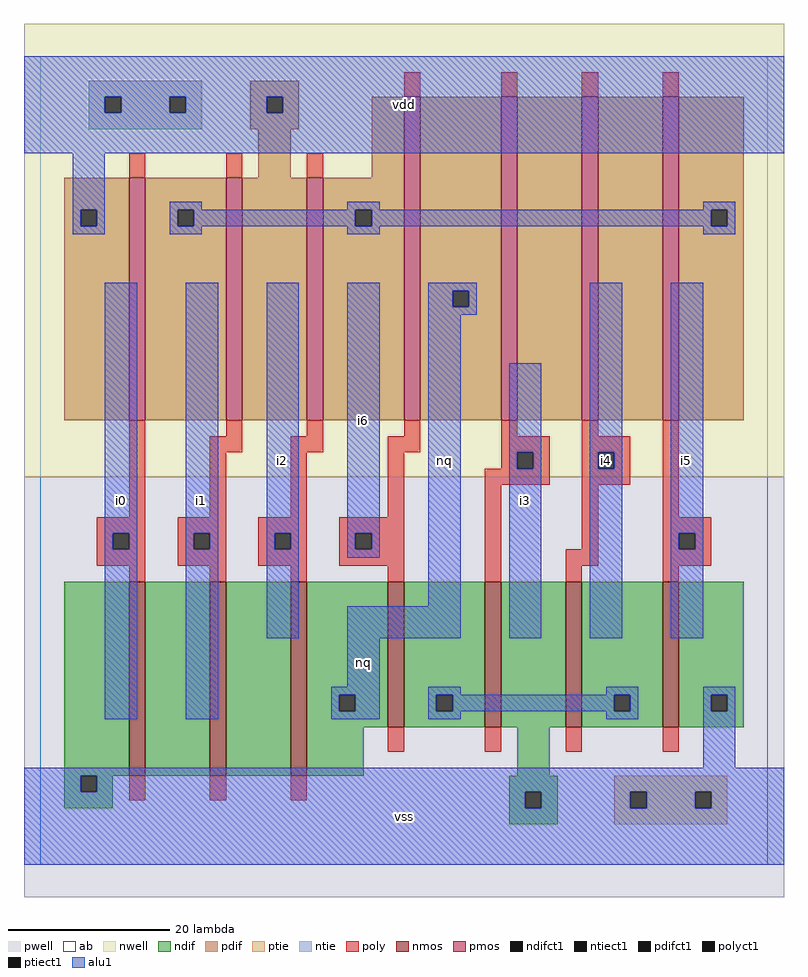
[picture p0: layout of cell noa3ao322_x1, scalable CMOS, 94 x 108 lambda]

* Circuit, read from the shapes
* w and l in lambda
.subckt noa3ao322_x1 i0 i1 i2 i3 i4 i5 i6 nq vdd vss
M1 n1 i0 vss vss nfet w=24 l=2
M2 n2 i1 n1 vss nfet w=24 l=2
M3 nq i2 n2 vss nfet w=24 l=2
M4 n3 i6 nq vss nfet w=18 l=2
M5 vss i3 n3 vss nfet w=18 l=2
M6 n3 i4 vss vss nfet w=18 l=2
M7 vss i5 n3 vss nfet w=18 l=2
M8 n4 i0 vdd vdd pfet w=30 l=2
M9 vdd i1 n4 vdd pfet w=30 l=2
M10 n4 i2 vdd vdd pfet w=30 l=2
M11 nq i6 n4 vdd pfet w=40 l=2
M12 n5 i3 nq vdd pfet w=40 l=2
M13 n6 i4 n5 vdd pfet w=40 l=2
M14 n4 i5 n6 vdd pfet w=40 l=2
.ends

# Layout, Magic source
magic
tech scmos
<< ab >>
rect 0 0 90 100
<< nwell >>
rect -2 48 92 104
<< pwell >>
rect -2 -4 92 48
<< poly >>
rect 45 95 47 98
rect 57 95 59 98
rect 67 95 69 98
rect 77 95 79 98
rect 11 85 13 88
rect 23 85 25 88
rect 33 85 35 88
rect 11 43 13 55
rect 23 53 25 55
rect 33 53 35 55
rect 45 53 47 55
rect 21 51 25 53
rect 31 51 35 53
rect 43 51 47 53
rect 57 53 59 55
rect 67 53 69 55
rect 57 51 63 53
rect 21 43 23 51
rect 31 43 33 51
rect 43 43 45 51
rect 57 49 59 51
rect 61 49 63 51
rect 7 41 13 43
rect 7 39 9 41
rect 11 39 13 41
rect 7 37 13 39
rect 17 41 23 43
rect 17 39 19 41
rect 21 39 23 41
rect 17 37 23 39
rect 27 41 33 43
rect 27 39 29 41
rect 31 39 33 41
rect 27 37 33 39
rect 37 41 45 43
rect 37 39 39 41
rect 41 39 45 41
rect 37 37 45 39
rect 11 35 13 37
rect 21 35 23 37
rect 31 35 33 37
rect 43 35 45 37
rect 55 47 63 49
rect 67 51 73 53
rect 67 49 69 51
rect 71 49 73 51
rect 67 47 73 49
rect 55 35 57 47
rect 67 39 69 47
rect 65 37 69 39
rect 77 43 79 55
rect 77 41 83 43
rect 77 39 79 41
rect 81 39 83 41
rect 77 37 83 39
rect 65 35 67 37
rect 77 35 79 37
rect 43 14 45 17
rect 55 14 57 17
rect 65 14 67 17
rect 77 14 79 17
rect 11 8 13 11
rect 21 8 23 11
rect 31 8 33 11
<< ndif >>
rect 3 11 11 35
rect 13 11 21 35
rect 23 11 31 35
rect 33 21 43 35
rect 33 19 37 21
rect 39 19 43 21
rect 33 17 43 19
rect 45 21 55 35
rect 45 19 49 21
rect 51 19 55 21
rect 45 17 55 19
rect 57 17 65 35
rect 67 21 77 35
rect 67 19 71 21
rect 73 19 77 21
rect 67 17 77 19
rect 79 21 87 35
rect 79 19 83 21
rect 85 19 87 21
rect 79 17 87 19
rect 33 11 40 17
rect 59 11 63 17
rect 3 9 5 11
rect 7 9 9 11
rect 3 7 9 9
rect 58 9 64 11
rect 58 7 60 9
rect 62 7 64 9
rect 58 5 64 7
<< pdif >>
rect 26 95 32 97
rect 26 93 28 95
rect 30 93 32 95
rect 26 91 32 93
rect 27 85 31 91
rect 41 85 45 95
rect 3 81 11 85
rect 3 79 5 81
rect 7 79 11 81
rect 3 55 11 79
rect 13 81 23 85
rect 13 79 17 81
rect 19 79 23 81
rect 13 55 23 79
rect 25 55 33 85
rect 35 81 45 85
rect 35 79 39 81
rect 41 79 45 81
rect 35 55 45 79
rect 47 71 57 95
rect 47 69 51 71
rect 53 69 57 71
rect 47 55 57 69
rect 59 55 67 95
rect 69 55 77 95
rect 79 81 87 95
rect 79 79 83 81
rect 85 79 87 81
rect 79 55 87 79
<< alu1 >>
rect -2 95 92 100
rect -2 93 8 95
rect 10 93 16 95
rect 18 93 28 95
rect 30 93 92 95
rect -2 88 92 93
rect 4 81 8 88
rect 4 79 5 81
rect 7 79 8 81
rect 4 78 8 79
rect 16 81 20 82
rect 38 81 42 82
rect 82 81 86 82
rect 16 79 17 81
rect 19 79 39 81
rect 41 79 83 81
rect 85 79 86 81
rect 16 78 20 79
rect 38 78 42 79
rect 82 78 86 79
rect 8 41 12 72
rect 8 39 9 41
rect 11 39 12 41
rect 8 18 12 39
rect 18 41 22 72
rect 18 39 19 41
rect 21 39 22 41
rect 18 18 22 39
rect 28 41 32 72
rect 28 39 29 41
rect 31 39 32 41
rect 28 28 32 39
rect 38 41 42 72
rect 38 39 39 41
rect 41 39 42 41
rect 38 38 42 39
rect 48 71 54 72
rect 48 69 51 71
rect 53 69 54 71
rect 48 68 54 69
rect 48 32 52 68
rect 38 28 52 32
rect 58 51 62 62
rect 58 49 59 51
rect 61 49 62 51
rect 58 28 62 49
rect 68 51 72 72
rect 68 49 69 51
rect 71 49 72 51
rect 68 28 72 49
rect 78 41 82 72
rect 78 39 79 41
rect 81 39 82 41
rect 78 28 82 39
rect 38 22 42 28
rect 36 21 42 22
rect 36 19 37 21
rect 39 19 42 21
rect 36 18 42 19
rect 48 21 52 22
rect 70 21 74 22
rect 48 19 49 21
rect 51 19 71 21
rect 73 19 74 21
rect 48 18 52 19
rect 70 18 74 19
rect 82 21 86 22
rect 82 19 83 21
rect 85 19 86 21
rect 82 12 86 19
rect -2 11 92 12
rect -2 9 5 11
rect 7 9 92 11
rect -2 7 60 9
rect 62 7 73 9
rect 75 7 81 9
rect 83 7 92 9
rect -2 0 92 7
<< ptie >>
rect 71 9 85 11
rect 71 7 73 9
rect 75 7 81 9
rect 83 7 85 9
rect 71 5 85 7
<< ntie >>
rect 6 95 20 97
rect 6 93 8 95
rect 10 93 16 95
rect 18 93 20 95
rect 6 91 20 93
<< nmos >>
rect 11 11 13 35
rect 21 11 23 35
rect 31 11 33 35
rect 43 17 45 35
rect 55 17 57 35
rect 65 17 67 35
rect 77 17 79 35
<< pmos >>
rect 11 55 13 85
rect 23 55 25 85
rect 33 55 35 85
rect 45 55 47 95
rect 57 55 59 95
rect 67 55 69 95
rect 77 55 79 95
<< polyct1 >>
rect 59 49 61 51
rect 9 39 11 41
rect 19 39 21 41
rect 29 39 31 41
rect 39 39 41 41
rect 69 49 71 51
rect 79 39 81 41
<< ndifct1 >>
rect 37 19 39 21
rect 49 19 51 21
rect 71 19 73 21
rect 83 19 85 21
rect 5 9 7 11
rect 60 7 62 9
<< ntiect1 >>
rect 8 93 10 95
rect 16 93 18 95
<< ptiect1 >>
rect 73 7 75 9
rect 81 7 83 9
<< pdifct1 >>
rect 28 93 30 95
rect 5 79 7 81
rect 17 79 19 81
rect 39 79 41 81
rect 51 69 53 71
rect 83 79 85 81
<< labels >>
rlabel alu1 10 45 10 45 6 i0
rlabel alu1 40 25 40 25 6 nq
rlabel alu1 20 45 20 45 6 i1
rlabel alu1 30 50 30 50 6 i2
rlabel alu1 40 55 40 55 6 i6
rlabel alu1 45 6 45 6 6 vss
rlabel alu1 60 45 60 45 6 i3
rlabel alu1 50 50 50 50 6 nq
rlabel alu1 45 94 45 94 6 vdd
rlabel alu1 80 50 80 50 6 i5
rlabel polyct1 70 50 70 50 6 i4
<< end >>
